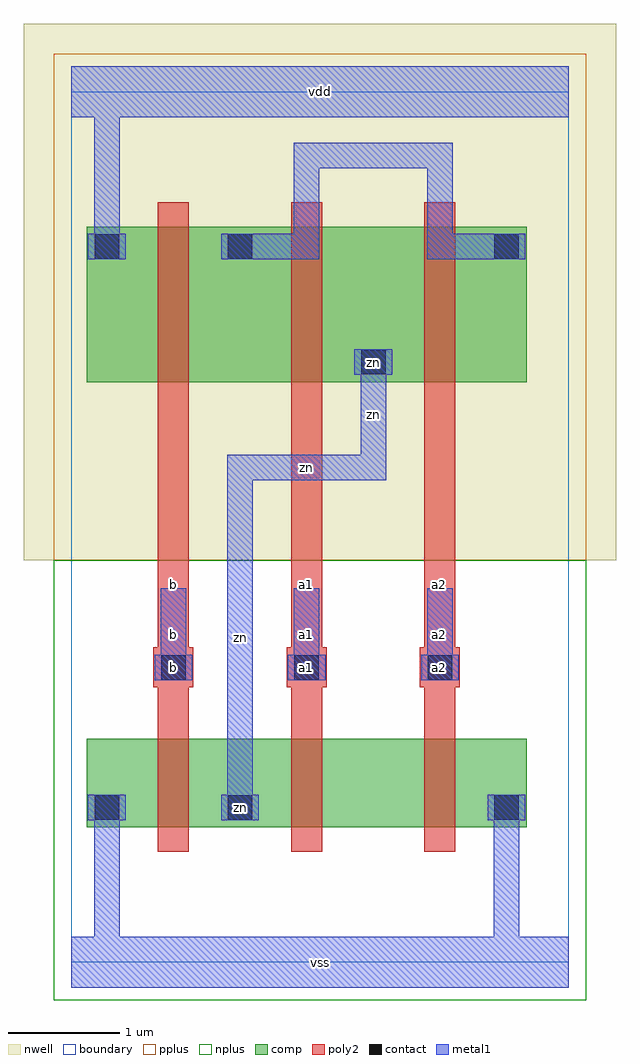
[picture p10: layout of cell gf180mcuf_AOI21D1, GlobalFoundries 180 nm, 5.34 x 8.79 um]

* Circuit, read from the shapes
.subckt gf180mcuf_AOI21D1 a1 a2 b vdd vss zn
XM1 zn b vss VSUBS nfet_03v3 w=0.8u l=0.28u
XM2 n1 a1 zn VSUBS nfet_03v3 w=0.8u l=0.28u
XM3 vss a2 n1 VSUBS nfet_03v3 w=0.8u l=0.28u
XM4 n2 b vdd n3 pfet_03v3 w=1.4u l=0.28u
XM5 zn a1 n2 n3 pfet_03v3 w=1.4u l=0.28u
XM6 n2 a2 zn n3 pfet_03v3 w=1.4u l=0.28u
.ends

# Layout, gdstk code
import gdstk
lib = gdstk.Library(unit=1e-6, precision=1e-09)
def R(c, l, rs):  # rectangles x0, y0, x1, y1
    for r in rs: c.add(gdstk.rectangle(r[:2], r[2:], *l))
def A(c, l, x, y, w, h, nx, ny, dx, dy):  # array of equal rectangles
    R(c, l, [(x+i*dx, y+j*dy, x+i*dx+w, y+j*dy+h) for i in range(nx) for j in range(ny)])
boundary = (0, 0)
nwell = (21, 0)
comp = (22, 0)
poly2 = (30, 0)
pplus = (31, 0)
nplus = (32, 0)
contact = (33, 0)
metal1 = (34, 0)

gf180mcuf_aoi21d1 = lib.new_cell('gf180mcuf_AOI21D1')
R(gf180mcuf_aoi21d1, boundary, [(0,0,4.48,7.84)])
R(gf180mcuf_aoi21d1, nwell, [(-0.43,3.62,4.91,8.45)])
A(gf180mcuf_aoi21d1, comp, 0.14, 1.215, 1.56, 0.8, 3, 1, 1.2, 0)
A(gf180mcuf_aoi21d1, comp, 0.14, 5.225, 1.56, 1.4, 3, 1, 1.2, 0)
R(gf180mcuf_aoi21d1, comp, [(0.14,1.215,0.5,1.575), (1.34,1.215,1.7,1.575), (3.74,1.215,4.1,1.575), (2.54,5.225,2.9,5.585), (0.14,6.265,0.5,6.625), (1.34,6.265,1.7,6.625), (3.74,6.265,4.1,6.625)])
A(gf180mcuf_aoi21d1, poly2, 0.78, 0.995, 0.28, 1.24, 3, 1, 1.2, 0)
A(gf180mcuf_aoi21d1, poly2, 0.78, 1.255, 0.28, 4.29, 3, 1, 1.2, 0)
A(gf180mcuf_aoi21d1, poly2, 0.74, 2.475, 0.36, 0.36, 3, 1, 1.2, 0)
A(gf180mcuf_aoi21d1, poly2, 0.78, 5.005, 0.28, 1.84, 3, 1, 1.2, 0)
R(gf180mcuf_aoi21d1, pplus, [(-0.16,3.62,4.64,7.5), (-0.16,7.5,4.64,8.18)])
R(gf180mcuf_aoi21d1, nplus, [(-0.16,-0.34,4.64,0.34), (-0.16,0.34,4.64,3.62)])
A(gf180mcuf_aoi21d1, contact, 0.81, 2.545, 0.22, 0.22, 3, 1, 1.2, 0)
R(gf180mcuf_aoi21d1, contact, [(0.21,1.285,0.43,1.505), (1.41,1.285,1.63,1.505), (3.81,1.285,4.03,1.505), (2.61,5.295,2.83,5.515), (0.21,6.335,0.43,6.555), (1.41,6.335,1.63,6.555), (3.81,6.335,4.03,6.555)])
A(gf180mcuf_aoi21d1, metal1, 0.75, 2.54, 0.34, 0.23, 3, 1, 1.2, 0)
A(gf180mcuf_aoi21d1, metal1, 0.805, 2.54, 0.23, 0.83, 3, 1, 1.2, 0)
R(gf180mcuf_aoi21d1, metal1, [(0,-0.23,4.48,0.23), (0.205,0.065,0.435,1.51), (3.805,0.065,4.035,1.51), (0.15,1.28,0.49,1.51), (1.35,1.28,1.69,1.51), (1.405,1.28,1.635,4.57), (3.75,1.28,4.09,1.51), (1.405,4.34,2.835,4.57), (2.605,4.34,2.835,5.52), (2.55,5.29,2.89,5.52), (0.15,6.33,0.49,6.56), (0.205,6.33,0.435,7.775), (1.35,6.33,1.69,6.56), (1.405,6.33,2.235,6.56), (2.005,6.33,2.235,7.38), (3.205,6.33,4.035,6.56), (3.205,6.33,3.435,7.38), (3.75,6.33,4.09,6.56), (2.005,7.15,3.435,7.38), (0,7.61,4.48,8.07)])
gf180mcuf_aoi21d1.add(gdstk.FlexPath([(0.14,0.575),(4.1,0.575)], 0, ends="flush", simple_path=True, layer=0, datatype=0))  # boundary
gf180mcuf_aoi21d1.add(gdstk.FlexPath([(0.14,1.395),(4.1,1.395)], 0, ends="flush", simple_path=True, layer=0, datatype=0))  # boundary
gf180mcuf_aoi21d1.add(gdstk.FlexPath([(0.14,2.655),(4.1,2.655)], 0, ends="flush", simple_path=True, layer=0, datatype=0))  # boundary
gf180mcuf_aoi21d1.add(gdstk.FlexPath([(0.14,3.255),(4.1,3.255)], 0, ends="flush", simple_path=True, layer=0, datatype=0))  # boundary
gf180mcuf_aoi21d1.add(gdstk.FlexPath([(0.14,3.855),(4.1,3.855)], 0, ends="flush", simple_path=True, layer=0, datatype=0))  # boundary
gf180mcuf_aoi21d1.add(gdstk.FlexPath([(0.14,4.455),(4.1,4.455)], 0, ends="flush", simple_path=True, layer=0, datatype=0))  # boundary
gf180mcuf_aoi21d1.add(gdstk.FlexPath([(0.14,5.405),(4.1,5.405)], 0, ends="flush", simple_path=True, layer=0, datatype=0))  # boundary
gf180mcuf_aoi21d1.add(gdstk.FlexPath([(0.14,6.445),(4.1,6.445)], 0, ends="flush", simple_path=True, layer=0, datatype=0))  # boundary
gf180mcuf_aoi21d1.add(gdstk.FlexPath([(0.14,7.265),(4.1,7.265)], 0, ends="flush", simple_path=True, layer=0, datatype=0))  # boundary
gf180mcuf_aoi21d1.add(gdstk.FlexPath([(0.32,0.065),(0.32,7.775)], 0, ends="flush", simple_path=True, layer=0, datatype=0))  # boundary
gf180mcuf_aoi21d1.add(gdstk.FlexPath([(0.92,0.065),(0.92,7.775)], 0, ends="flush", simple_path=True, layer=0, datatype=0))  # boundary
gf180mcuf_aoi21d1.add(gdstk.FlexPath([(1.52,0.065),(1.52,7.775)], 0, ends="flush", simple_path=True, layer=0, datatype=0))  # boundary
gf180mcuf_aoi21d1.add(gdstk.FlexPath([(2.12,0.065),(2.12,7.775)], 0, ends="flush", simple_path=True, layer=0, datatype=0))  # boundary
gf180mcuf_aoi21d1.add(gdstk.FlexPath([(2.72,0.065),(2.72,7.775)], 0, ends="flush", simple_path=True, layer=0, datatype=0))  # boundary
gf180mcuf_aoi21d1.add(gdstk.FlexPath([(3.32,0.065),(3.32,7.775)], 0, ends="flush", simple_path=True, layer=0, datatype=0))  # boundary
gf180mcuf_aoi21d1.add(gdstk.FlexPath([(3.92,0.065),(3.92,7.775)], 0, ends="flush", simple_path=True, layer=0, datatype=0))  # boundary
gf180mcuf_aoi21d1.add(gdstk.Label('zn', (1.52,1.395), layer=22, texttype=0))
gf180mcuf_aoi21d1.add(gdstk.Label('zn', (2.72,5.405), layer=22, texttype=0))
gf180mcuf_aoi21d1.add(gdstk.Label('a1', (2.12,3.4), layer=30, texttype=0))
gf180mcuf_aoi21d1.add(gdstk.Label('a1', (2.12,2.655), layer=30, texttype=0))
gf180mcuf_aoi21d1.add(gdstk.Label('a2', (3.32,3.4), layer=30, texttype=0))
gf180mcuf_aoi21d1.add(gdstk.Label('a2', (3.32,2.655), layer=30, texttype=0))
gf180mcuf_aoi21d1.add(gdstk.Label('b', (0.92,3.4), layer=30, texttype=0))
gf180mcuf_aoi21d1.add(gdstk.Label('b', (0.92,2.655), layer=30, texttype=0))
gf180mcuf_aoi21d1.add(gdstk.Label('zn', (1.52,1.395), layer=33, texttype=0))
gf180mcuf_aoi21d1.add(gdstk.Label('zn', (2.72,5.405), layer=33, texttype=0))
gf180mcuf_aoi21d1.add(gdstk.Label('a1', (2.12,2.655), layer=33, texttype=0))
gf180mcuf_aoi21d1.add(gdstk.Label('a2', (3.32,2.655), layer=33, texttype=0))
gf180mcuf_aoi21d1.add(gdstk.Label('b', (0.92,2.655), layer=33, texttype=0))
gf180mcuf_aoi21d1.add(gdstk.Label('zn', (1.52,1.395), layer=34, texttype=10))
gf180mcuf_aoi21d1.add(gdstk.Label('zn', (2.72,5.405), layer=34, texttype=10))
gf180mcuf_aoi21d1.add(gdstk.Label('zn', (1.52,2.925), layer=34, texttype=10))
gf180mcuf_aoi21d1.add(gdstk.Label('zn', (2.12,4.455), layer=34, texttype=10))
gf180mcuf_aoi21d1.add(gdstk.Label('zn', (2.72,4.93), layer=34, texttype=10))
gf180mcuf_aoi21d1.add(gdstk.Label('a1', (2.12,2.655), layer=34, texttype=10))
gf180mcuf_aoi21d1.add(gdstk.Label('a1', (2.12,2.955), layer=34, texttype=10))
gf180mcuf_aoi21d1.add(gdstk.Label('a2', (3.32,2.655), layer=34, texttype=10))
gf180mcuf_aoi21d1.add(gdstk.Label('a2', (3.32,2.955), layer=34, texttype=10))
gf180mcuf_aoi21d1.add(gdstk.Label('b', (0.92,2.655), layer=34, texttype=10))
gf180mcuf_aoi21d1.add(gdstk.Label('b', (0.92,2.955), layer=34, texttype=10))
gf180mcuf_aoi21d1.add(gdstk.Label('vss', (2.24,0), layer=34, texttype=10))
gf180mcuf_aoi21d1.add(gdstk.Label('vdd', (2.24,7.84), layer=34, texttype=10))

lib.write_gds('gf180mcuf_AOI21D1.gds')
